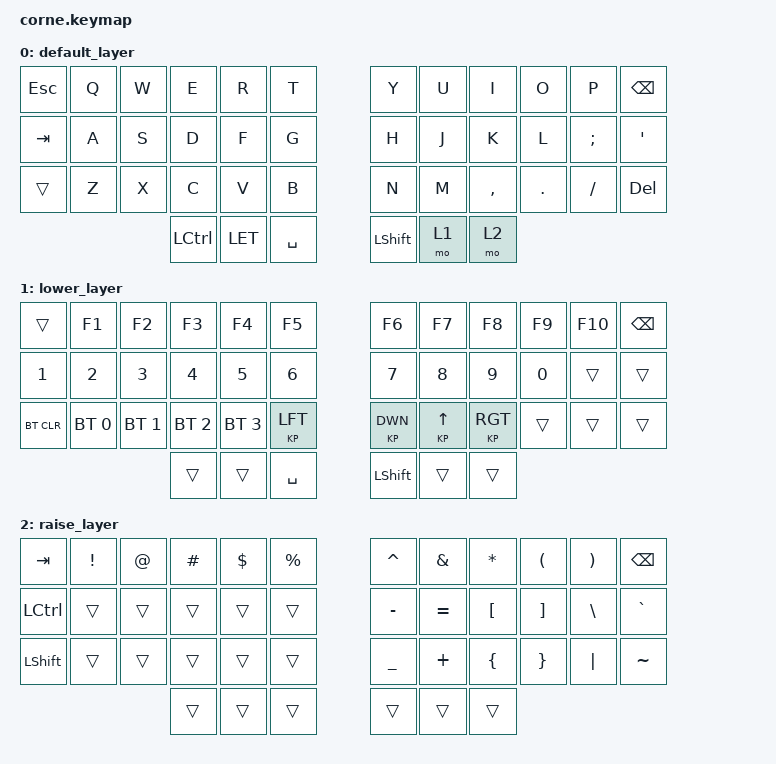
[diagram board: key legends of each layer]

#include <behaviors.dtsi>
#include <dt-bindings/zmk/keys.h>
#include <dt-bindings/zmk/bt.h>

/ {
        keymap {
                compatible = "zmk,keymap";

                default_layer {
// -----------------------------------------------------------------------------------------
// |  ESC |  Q  |  W  |  E  |  R  |  T  |   |  Y  |  U   |  I  |  O  |  P  | BSPC |
// | TAB |  A  |  S  |  D  |  F  |  G  |   |  H  |  J   |  K  |  L  |  ;  |  '   |
// |     |  Z  |  X  |  C  |  V  |  B  |   |  N  |  M   |  ,  |  .  |  /  | DEL |
//                    | LCTRL | ALT | SPC |   | SHIFT | RSE  | LWR |
                        bindings = <
   &kp ESC   &kp Q &kp W &kp E &kp R &kp T   &kp Y &kp U  &kp I     &kp O   &kp P    &kp BSPC
   &kp TAB &kp A &kp S &kp D &kp F &kp G   &kp H &kp J  &kp K     &kp L   &kp SEMI &kp SQT
   &trans &kp Z &kp X &kp C &kp V &kp B   &kp N &kp M  &kp COMMA &kp DOT &kp FSLH &kp DEL
                  &kp LCTRL &kp LET &kp SPACE   &kp LSHIFT &mo 1 &mo 2
                        >;
                };
                lower_layer {
// -----------------------------------------------------------------------------------------
// |     |  f1  |  f2  |  f3  |  f4  |  f5  |   |  f6  |  f7  |  f8  |  f9  |  f10  | BSPC |
// |     | 1 | 2| 3   | 4   |5   |6    |      | 7| 8     | 9   | 0    |      |      |
// |btcont| bt1 | bt2 | bt3 |bt4 |     |      | LFT | DWN  |  UP | RGT|     |      |
//                    |    |     | SPC |      | ENT |     |     |
                        bindings = <
   &trans  &kp F1 &kp F2 &kp F3 &kp F4 &kp F5   &kp F6 &kp F7 &kp F8 &kp F9  &kp F10 &kp BSPC
   &kp N1 &kp N2 &kp N3 &kp N4 &kp N5    &kp N6 &kp N7 &kp N8 &kp N9 &kp N0 &trans &trans
   &bt BT_CLR &bt BT_SEL 0 &bt BT_SEL 1 &bt BT_SEL 2 &bt BT_SEL 3 &KP LFT  &KP DWN &KP UP &KP RGT &trans  &trans &trans
                        &trans     &trans   &kp SPACE &kp LSHIFT  &trans   &trans
                        >;
                };

                raise_layer {
// -----------------------------------------------------------------------------------------
// |  TAB |  !  |  @  |  #  |  $  |  %  |   |  ^  |  &  |  *  |  (  |  )  | BSPC |
// | CTRL |     |     |     |     |     |   |  -  |  =  |  [  |  ]  |  \  |  `   |
// | SHFT |     |     |     |     |     |   |  _  |  +  |  {  |  }  | "|" |  ~   |
//                    | GUI |     | SPC |   | ENT |     | ALT |
                        bindings = <
   &kp  TAB  &kp EXCL &kp AT &kp HASH &kp DLLR &kp PRCNT   &kp CARET &kp AMPS  &kp ASTRK &kp LPAR &kp RPAR &kp BSPC
   &kp LCTRL &trans   &trans &trans   &trans   &trans      &kp MINUS &kp EQUAL &kp LBKT  &kp RBKT &kp BSLH &kp GRAVE
   &kp LSHFT &trans   &trans &trans   &trans   &trans      &kp UNDER &kp PLUS  &kp LBRC  &kp RBRC &kp PIPE &kp TILDE
                             &trans &trans   &trans  &trans   &trans    &trans
                        >;
                };
        };
};
